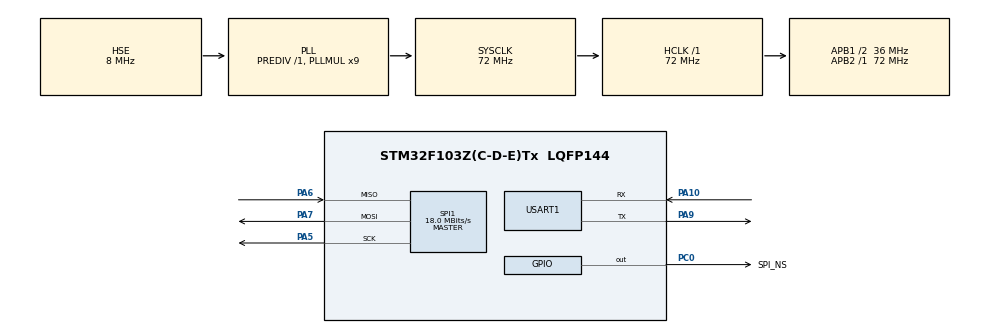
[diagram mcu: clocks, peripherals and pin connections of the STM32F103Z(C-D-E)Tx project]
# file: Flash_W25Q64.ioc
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Mcu.Family=STM32F1
Mcu.Name=STM32F103Z(C-D-E)Tx
Mcu.Package=LQFP144
NVIC.PriorityGroup=NVIC_PRIORITYGROUP_4
NVIC.USART1_IRQn=true\:0\:0\:false\:false\:true\:true\:true\:true
OSC_IN.Mode=HSE-External-Oscillator
OSC_IN.Signal=RCC_OSC_IN
OSC_OUT.Mode=HSE-External-Oscillator
OSC_OUT.Signal=RCC_OSC_OUT
PA10.Mode=Asynchronous
PA10.Signal=USART1_RX
PA13.Mode=Serial_Wire
PA13.Signal=SYS_JTMS-SWDIO
PA14.Mode=Serial_Wire
PA14.Signal=SYS_JTCK-SWCLK
PA5.Mode=Full_Duplex_Master
PA5.Signal=SPI1_SCK
PA6.Mode=Full_Duplex_Master
PA6.Signal=SPI1_MISO
PA7.Mode=Full_Duplex_Master
PA7.Signal=SPI1_MOSI
PA9.Mode=Asynchronous
PA9.Signal=USART1_TX
PC0.GPIO_Label=SPI_NS
PC0.GPIO_PuPd=GPIO_NOPULL
PC0.PinState=GPIO_PIN_SET
PC0.Signal=GPIO_Output
ProjectManager.HeapSize=0x200
ProjectManager.StackSize=0x400
ProjectManager.TargetToolchain=MDK-ARM V5.32
RCC.AHBFreq_Value=72000000
RCC.APB1CLKDivider=RCC_HCLK_DIV2
RCC.APB1Freq_Value=36000000
RCC.APB1TimFreq_Value=72000000
RCC.APB2Freq_Value=72000000
RCC.APB2TimFreq_Value=72000000
RCC.HCLKFreq_Value=72000000
RCC.PLLMUL=RCC_PLL_MUL9
RCC.PLLSourceVirtual=RCC_PLLSOURCE_HSE
RCC.SYSCLKFreq_VALUE=72000000
RCC.SYSCLKSource=RCC_SYSCLKSOURCE_PLLCLK
RCC.USBFreq_Value=72000000
SPI1.BaudRatePrescaler=SPI_BAUDRATEPRESCALER_4
SPI1.CalculateBaudRate=18.0 MBits/s
SPI1.Direction=SPI_DIRECTION_2LINES
SPI1.Mode=SPI_MODE_MASTER
SPI1.VirtualType=VM_MASTER
USART1.VirtualMode=VM_ASYNC
board=custom

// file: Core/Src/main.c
/* USER CODE BEGIN Header */
/**
  ******************************************************************************
  * @file           : main.c
  * @brief          : Main program body
  ******************************************************************************
  * @attention
  *
  * Copyright (c) 2022 STMicroelectronics.
  * All rights reserved.
  *
  * This software is licensed under terms that can be found in the LICENSE file
  * in the root directory of this software component.
  * If no LICENSE file comes with this software, it is provided AS-IS.
  *
  ******************************************************************************
  */
/* USER CODE END Header */
#include "main.h"

typedef enum {FAILED=0,PASSED=!FAILED} Test_Status;
SPI_HandleTypeDef hspi1;
UART_HandleTypeDef huart1;
uint8_t RxBuf[1];
__IO Test_Status TransferStatus1 = FAILED;

/* 获取缓冲区的长度 */
#define TxBufferSize1   (countof(TxBuffer1) - 1)
#define RxBufferSize1   (countof(TxBuffer1) - 1)
#define countof(a)      (sizeof(a) / sizeof(*(a)))
#define  BufferSize (countof(Tx_Buffer)-1)

#define  FLASH_WriteAddress     0x00000
#define  FLASH_ReadAddress      FLASH_WriteAddress
#define  FLASH_SectorToErase    FLASH_WriteAddress

/* 发送缓冲区初始化 */
uint8_t Tx_Buffer[] = "Just test";
uint8_t Rx_Buffer[BufferSize];

void SystemClock_Config(void);
static void MX_GPIO_Init(void);
static void MX_SPI1_Init(void);
static void MX_USART1_UART_Init(void);

/* USER CODE BEGIN 0 */
int fputc(int ch , FILE *f)
{
	HAL_UART_Transmit(&huart1,(uint8_t *)&ch,1,0xFFFF);
	return ch;
}

int fgetc(FILE *f)
{
	uint8_t ch = 0;
	HAL_UART_Receive(&huart1,(uint8_t *)&ch,1,0xFFFF);
	return ch;
}

/**
 * @brief  SPI CS Low level
 * @note
 * @retval None
 */
Test_Status BufferCmp(uint8_t* pBuffer1,uint8_t* pBuffer2,uint16_t BufferLength)
{
	while(BufferLength--)
	{
		if(*pBuffer1 != *pBuffer2)
		{
			return FAILED;
		}
		pBuffer1++;
		pBuffer2++;
	}
	return PASSED;
}

/* USER CODE END 0 */

int main(void)
{
  /* USER CODE BEGIN 1 */
  __IO uint32_t flash_id = 0;
  /* USER CODE END 1 */

  /* MCU Configuration--------------------------------------------------------*/

  /* Reset of all peripherals, Initializes the Flash interface and the Systick. */
  HAL_Init();

  /* Configure the system clock */
  SystemClock_Config();

  /* Initialize all configured peripherals */
  MX_GPIO_Init();
  MX_SPI1_Init();
  MX_USART1_UART_Init();
  /* USER CODE BEGIN 2 */
  flash_id=SPI_FLASH_ReadID();
	printf("Flash ID:0x%X\n\r",flash_id);
	UART_Start_Receive_IT(&huart1, (uint8_t *)RxBuf, 1);
  /* USER CODE END 2 */
	if(flash_id==sFLASH_ID)
	{
		SPI_FLASH_SectorErase(0x00000);

		SPI_FLASH_BufferWrite(Tx_Buffer,0x00000,BufferSize);

		SPI_FLASH_BufferRead(Rx_Buffer,0x00000,BufferSize);
		printf("Read Date is :%s\r\n",Rx_Buffer);

		TransferStatus1= BufferCmp(Tx_Buffer,Rx_Buffer,BufferSize);

		if(TransferStatus1==PASSED)
		{
			printf("flash test succeed!\r\n");
		}
		else
		{
			printf("flash test failed !\r\n");
		}
	}

  /* Infinite loop */
  while (1)
  {

  }
}

void SystemClock_Config(void)
{
  RCC_OscInitTypeDef RCC_OscInitStruct = {0};
  RCC_ClkInitTypeDef RCC_ClkInitStruct = {0};

  /** Initializes the RCC Oscillators according to the specified parameters
  * in the RCC_OscInitTypeDef structure.
  */
  RCC_OscInitStruct.OscillatorType = RCC_OSCILLATORTYPE_HSE;
  RCC_OscInitStruct.HSEState = RCC_HSE_ON;
  RCC_OscInitStruct.HSEPredivValue = RCC_HSE_PREDIV_DIV1;
  RCC_OscInitStruct.HSIState = RCC_HSI_ON;
  RCC_OscInitStruct.PLL.PLLState = RCC_PLL_ON;
  RCC_OscInitStruct.PLL.PLLSource = RCC_PLLSOURCE_HSE;
  RCC_OscInitStruct.PLL.PLLMUL = RCC_PLL_MUL9;
  if (HAL_RCC_OscConfig(&RCC_OscInitStruct) != HAL_OK)
  {
    Error_Handler();
  }

  /** Initializes the CPU, AHB and APB buses clocks
  */
  RCC_ClkInitStruct.ClockType = RCC_CLOCKTYPE_HCLK|RCC_CLOCKTYPE_SYSCLK
                              |RCC_CLOCKTYPE_PCLK1|RCC_CLOCKTYPE_PCLK2;
  RCC_ClkInitStruct.SYSCLKSource = RCC_SYSCLKSOURCE_PLLCLK;
  RCC_ClkInitStruct.AHBCLKDivider = RCC_SYSCLK_DIV1;
  RCC_ClkInitStruct.APB1CLKDivider = RCC_HCLK_DIV2;
  RCC_ClkInitStruct.APB2CLKDivider = RCC_HCLK_DIV1;

  if (HAL_RCC_ClockConfig(&RCC_ClkInitStruct, FLASH_LATENCY_2) != HAL_OK)
  {
    Error_Handler();
  }
}

static void MX_SPI1_Init(void)
{

  /* SPI1 parameter configuration*/
  hspi1.Instance = SPI1;
  hspi1.Init.Mode = SPI_MODE_MASTER;
  hspi1.Init.Direction = SPI_DIRECTION_2LINES;
  hspi1.Init.DataSize = SPI_DATASIZE_8BIT;
  hspi1.Init.CLKPolarity = SPI_POLARITY_LOW;
  hspi1.Init.CLKPhase = SPI_PHASE_1EDGE;
  hspi1.Init.NSS = SPI_NSS_SOFT;
  hspi1.Init.BaudRatePrescaler = SPI_BAUDRATEPRESCALER_4;
  hspi1.Init.FirstBit = SPI_FIRSTBIT_MSB;
  hspi1.Init.TIMode = SPI_TIMODE_DISABLE;
  hspi1.Init.CRCCalculation = SPI_CRCCALCULATION_DISABLE;
  hspi1.Init.CRCPolynomial = 10;
  if (HAL_SPI_Init(&hspi1) != HAL_OK)
  {
    Error_Handler();
  }

}

static void MX_USART1_UART_Init(void)
{

  huart1.Instance = USART1;
  huart1.Init.BaudRate = 115200;
  huart1.Init.WordLength = UART_WORDLENGTH_8B;
  huart1.Init.StopBits = UART_STOPBITS_1;
  huart1.Init.Parity = UART_PARITY_NONE;
  huart1.Init.Mode = UART_MODE_TX_RX;
  huart1.Init.HwFlowCtl = UART_HWCONTROL_NONE;
  huart1.Init.OverSampling = UART_OVERSAMPLING_16;

  if (HAL_UART_Init(&huart1) != HAL_OK)
  {
    Error_Handler();
  }

}

static void MX_GPIO_Init(void)
{
  GPIO_InitTypeDef GPIO_InitStruct = {0};

  /* GPIO Ports Clock Enable */
  __HAL_RCC_GPIOC_CLK_ENABLE();
  __HAL_RCC_GPIOA_CLK_ENABLE();

  /*Configure GPIO pin Output Level */
  HAL_GPIO_WritePin(SPI_NS_GPIO_Port, SPI_NS_Pin, GPIO_PIN_SET);

  /*Configure GPIO pin : SPI_NS_Pin */
  GPIO_InitStruct.Pin = SPI_NS_Pin;
  GPIO_InitStruct.Mode = GPIO_MODE_OUTPUT_PP;
  GPIO_InitStruct.Pull = GPIO_NOPULL;
  GPIO_InitStruct.Speed = GPIO_SPEED_FREQ_LOW;
  HAL_GPIO_Init(SPI_NS_GPIO_Port, &GPIO_InitStruct);

}

/* USER CODE BEGIN 4 */
void HAL_UART_RxCpltCallback(UART_HandleTypeDef *huart)
{
	if(huart->Instance==USART1)
	{

		HAL_UART_Transmit(&huart1,RxBuf,1,0xFFFF);
		HAL_UART_Receive_IT(&huart1,RxBuf,1);
	}
}
/* USER CODE END 4 */

void Error_Handler(void)
{
  __disable_irq();
  while (1)
  {
  }
}
